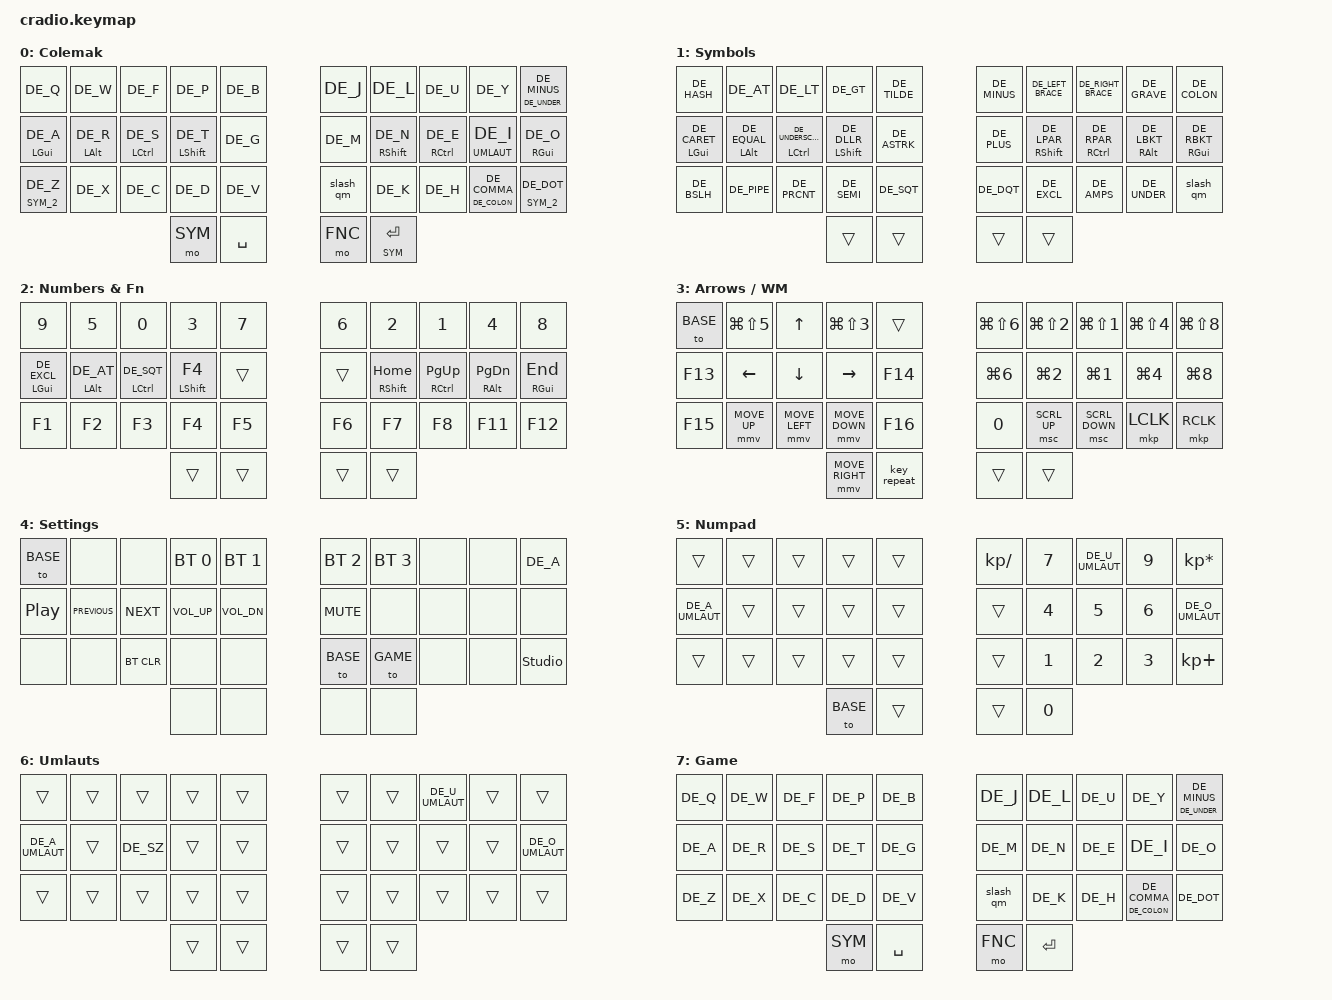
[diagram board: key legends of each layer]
/*
 * Copyright (c) 2020 The ZMK Contributors
 *
 * SPDX-License-Identifier: MIT
 */

#include <behaviors.dtsi>
#include <dt-bindings/zmk/bt.h>
#include <dt-bindings/zmk/keys.h>
#include <dt-bindings/zmk/pointing.h>

// Localized German keycodes (keys_de.h): every binding that emits a
// character uses a DE_* code, so hosts configured with a stock German
// layout produce the same characters in the same physical positions
// (Colemak letter positions kept; only the emitted HID usages differ —
// note the QWERTZ Y/Z usage swap: DE_Y / DE_Z). Requires ALL hosts to
// run a German keyboard layout. Header generated by
// https://github.com/joelspadin/zmk-locale-generator (v1.5.0, CLDR
// de-t-k0-windows).
#include "keys_de.h"

#define BASE   0
#define SYM    1
#define SYM_2  2
#define FNC    3
#define FNC_2  4
#define NUMPAD 5
#define UMLAUT 6
#define GAME   7

// ZMK has no parent->child property inheritance: combos need timeout-ms and
// require-prior-idle-ms set per combo, otherwise they silently fall back to
// 50 ms / -1 (disabled) regardless of what the combos node says.
//
// combo_c: common variant (active on BASE..FNC).

#define ZMK_COMBO_C(n, b, kp, i) \
    n { bindings = <b>; key-positions = <kp>; layers = <BASE SYM SYM_2 FNC>; timeout-ms = <50>; require-prior-idle-ms = <i>; };

// combo_a: "everywhere" variant (all layers, for Escape-style combos).
// GAME is listed so to_default (Q + top pinky) also exits game mode.
#define ZMK_COMBO_A(n, b, kp, i) \
    n { bindings = <b>; key-positions = <kp>; layers = <BASE SYM SYM_2 FNC FNC_2 NUMPAD GAME>; timeout-ms = <50>; require-prior-idle-ms = <i>; };

&mt {
    // &mt is only used for tap/tap pairs (COLON+COMMA, UNDER+MINUS) where
    // tap-preferred + a prior-idle guard would only delay the shifted side.
    // Tap/tap resolution never depends on prior idle, so no guard is needed.

    tapping-term-ms = <250>;
    flavor = "tap-preferred";
};

&lt { require-prior-idle-ms = <100>; };

&sl { release-after-ms = <3000>; };

/ {
    combos {
        compatible = "zmk,combos";

        // Destructive / high-risk combos get 150 ms idle, the rest 80 ms.
        // Idle guard: the combo key pair must be pressed after that much
        // typing silence, so fast rolls can't fire them accidentally.
        esc {
            bindings = <&kp ESCAPE>;
            key-positions = <0 1>;
            layers = <BASE SYM SYM_2 FNC FNC_2 NUMPAD>;
            timeout-ms = <50>;
            require-prior-idle-ms = <0>;
        };
        // Same chord on GAME: menus still need Escape, but an unguarded Q+W
        // would pop the pause menu mid-fight — destructive-combo idle guard.
        esc_game { bindings = <&kp ESCAPE>; key-positions = <0 1>; layers = <GAME>; timeout-ms = <50>; require-prior-idle-ms = <150>; };
        ZMK_COMBO_C(cut,            &kp LC(X),       21 22,  80)
        ZMK_COMBO_C(copy,           &kp LC(C),       22 23,  80)
        ZMK_COMBO_C(paste,          &kp LC(V),       23 24,  80)
        ZMK_COMBO_A(to_default,     &to BASE,        0 9,    80)

        alt_quotes {
            bindings = <&kp DE_DQT>;
            key-positions = <5 6>;
            layers = <BASE>;
            timeout-ms = <50>;
            require-prior-idle-ms = <80>;
        };

        numpad {
            bindings = <&to NUMPAD>;
            key-positions = <7 8 9>;
            layers = <BASE>;
            timeout-ms = <50>;
            require-prior-idle-ms = <80>;
        };

        ZMK_COMBO_C(backspace,      &kp BACKSPACE,   3 2,    150)
        ZMK_COMBO_C(delete,         &kp DELETE,      6 7,    150)

        settings {
            bindings = <&to FNC_2>;
            key-positions = <0 1 2>;
            layers = <BASE>;
            timeout-ms = <50>;
            require-prior-idle-ms = <80>;
        };

        improve_prompt {
            bindings = <&llm_prompt>;
            key-positions = <30 31>;
            layers = <BASE>;
            timeout-ms = <50>;
            require-prior-idle-ms = <150>;
        };

        // RET is not destructive; keep the idle guard minimal so fast typing
        // straight into the combo still fires it.

        ZMK_COMBO_C(alt_ret,        &kp RET,         14 13,  30)

        capsword {
            bindings = <&caps_word>;
            key-positions = <29 28>;
            layers = <BASE>;
            timeout-ms = <50>;
            require-prior-idle-ms = <80>;
        };

        ZMK_COMBO_C(alt_tab,        &kp TAB,         15 16,  80)
        ZMK_COMBO_C(alt_semicolon,  &kp DE_SEMI,     3 4,    80)
        ZMK_COMBO_A(studio_unlock,  &studio_unlock,  20 10 0, 80)

        sym_once {
            // Was &sk SYM: &sk is a sticky *key* and wraps &kp, so this
            // emitted HID keycode 1 instead of the SYM layer.

            bindings = <&sl SYM>;
            key-positions = <20 21>;
            layers = <BASE>;
            timeout-ms = <50>;
            require-prior-idle-ms = <80>;
        };

        ZMK_COMBO_C(undo,           &kp LC(DE_Z),    24 25,  80)
        ZMK_COMBO_C(redo,           &kp LS(LC(DE_Z)), 25 26, 80)

        // Word-deletion pair: F+W sits one column left of the backspace combo
        // (F+P), T+D is its left/right mirror on the home row.

        ZMK_COMBO_C(word_backspace, &kp LC(BACKSPACE), 1 2,  150)
        ZMK_COMBO_C(word_delete,    &kp LC(DELETE),  14 15,  150)
    };

    macros {
        llm_prompt: llm_prompt {
            compatible = "zmk,behavior-macro";
            #binding-cells = <0>;
            wait-ms = <30>;
            tap-ms = <30>;
            bindings = <&kp LS(RET) &kp I &kp M &kp P &kp R &kp O &kp V &kp E &kp SPACE &kp T &kp H &kp I &kp S &kp SPACE &kp T &kp E &kp X &kp T &kp SPACE &kp A &kp N &kp D &kp SPACE &kp M &kp A &kp K &kp E &kp SPACE &kp I &kp T &kp SPACE &kp C &kp O &kp N &kp C &kp I &kp S &kp E &kp LC(RET)>;
        };
    };

    behaviors {
        hml: home_row_mod_left {
            compatible = "zmk,behavior-hold-tap";
            #binding-cells = <2>;
            flavor = "balanced";
            require-prior-idle-ms = <125>;
            tapping-term-ms = <250>;
            quick-tap-ms = <175>;
            bindings = <&kp>, <&kp>;

            hold-trigger-key-positions = <5 6 7 8 9 15 16 17 18 19 25 26 27 28 29 32 33>;
            hold-trigger-on-release;
            display-name = "Home Row Mod Left";
        };

        hmr: home_row_mod_right {
            compatible = "zmk,behavior-hold-tap";
            #binding-cells = <2>;
            flavor = "balanced";
            require-prior-idle-ms = <125>;
            tapping-term-ms = <250>;
            quick-tap-ms = <175>;
            bindings = <&kp>, <&kp>;

            hold-trigger-key-positions = <0 1 2 3 4 10 11 12 13 14 20 21 22 23 24 30 31>;
            hold-trigger-on-release;
            display-name = "Home Row Mod Right";
        };

        // Slash like a real keyboard: tap gives /, holding Shift gives ?.
        // On German hosts / (shift+7) and ? (shift+ß) sit on different
        // physical usages, so a plain &kp DE_SLASH can never produce ? with
        // an already-held Shift — the morph must swap the usage instead.
        slash_qm: slash_question {
            compatible = "zmk,behavior-mod-morph";
            #binding-cells = <0>;
            bindings = <&kp DE_SLASH>, <&kp DE_QUESTION>;
            mods = <(MOD_LSFT|MOD_RSFT)>;
            display-name = "Slash / Question Morph";
        };

        // Hold on I activates the UMLAUT layer instead of sending real
        // RAlt: a/o/u/s (and same-hand ü/ö rolls on U/O) then produce
        // ä/ö/ü/ß from their direct German-layout keycodes. A stock German
        // host maps AltGr+letter to æ/↓/ø fraction garbage (or nothing on
        // Windows), never to umlauts — and a leaked RAlt gave @/µ. A
        // momentary layer sends no RAlt HID usage at all, so none of that
        // can leak; a misruled chord just types the base letter.
        hmr_uml: home_row_mod_right_umlaut {
            compatible = "zmk,behavior-hold-tap";
            #binding-cells = <2>;
            flavor = "balanced";
            require-prior-idle-ms = <125>;
            tapping-term-ms = <250>;
            quick-tap-ms = <175>;
            bindings = <&mo>, <&kp>;
            // Left-hand keys + U(7)/O(19) on the same hand so ü/ö chords
            // on the right hand resolve to the hold (layer) side.
            hold-trigger-key-positions = <0 1 2 3 4 10 11 12 13 14 20 21 22 23 24 30 31 7 19>;
            hold-trigger-on-release;
            display-name = "Home Row Mod Right Umlaut";
        };
    };

    keymap {
        compatible = "zmk,keymap";

        base_layer {
            display-name = "Colemak";
            bindings = <
&kp DE_Q            &kp DE_W           &kp DE_F        &kp DE_P             &kp DE_B        &kp DE_J      &kp DE_L              &kp DE_U        &kp DE_Y            &mt DE_UNDER DE_MINUS
&hml LGUI DE_A  &hml LALT DE_R  &hml LCTRL DE_S  &hml LSHFT DE_T  &kp DE_G        &kp DE_M      &hmr RSHFT DE_N  &hmr RCTRL DE_E  &hmr_uml UMLAUT DE_I  &hmr RGUI DE_O
&lt SYM_2 DE_Z          &kp DE_X           &kp DE_C        &kp DE_D             &kp DE_V        &slash_qm  &kp DE_K              &kp DE_H        &mt DE_COLON DE_COMMA  &lt SYM_2 DE_DOT
                                              &mo SYM    &kp SPACE    &mo FNC    &lt SYM RET
            >;
        };

        symbol {
            display-name = "Symbols";
            bindings = <
&kp DE_HASH            &kp DE_AT              &kp DE_LT         &kp DE_GT       &kp DE_TILDE           &kp DE_MINUS  &kp DE_LEFT_BRACE                    &kp DE_RIGHT_BRACE              &kp DE_GRAVE                   &kp DE_COLON
&hml LGUI DE_CARET  &hml LALT DE_EQUAL  &hml LCTRL DE_UNDERSCORE  &hml LSHFT DE_DLLR  &kp DE_ASTRK        &kp DE_PLUS   &hmr RSHFT DE_LPAR  &hmr RCTRL DE_RPAR  &hmr RALT DE_LBKT  &hmr RGUI DE_RBKT
&kp DE_BSLH       &kp DE_PIPE            &kp DE_PRCNT             &kp DE_SEMI               &kp DE_SQT    &kp DE_DQT    &kp DE_EXCL                          &kp DE_AMPS                     &kp DE_UNDER                   &slash_qm
                                                               &trans                 &trans              &trans     &trans
            >;
        };

        number-and-fn {
            display-name = "Numbers & Fn";
            bindings = <
&kp N9             &kp N5       &kp N0         &kp NUMBER_3       &kp N7    &kp N6  &kp NUMBER_2          &kp NUMBER_1       &kp NUMBER_4             &kp N8
&hml LGUI DE_EXCL  &hml LALT DE_AT  &hml LCTRL DE_SQT  &hml LSHFT F4  &trans    &trans  &hmr RSHFT HOME  &hmr RCTRL PAGE_UP  &hmr RALT PAGE_DOWN  &hmr RGUI END
&kp F1             &kp F2       &kp F3         &kp F4             &kp F5    &kp F6  &kp F7                &kp F8             &kp F11                  &kp F12
                                               &trans             &trans    &trans  &trans
            >;
        };

        arrows_wm {
            display-name = "Arrows / WM";
            bindings = <
&to BASE  &kp LG(LS(N5))  &kp UP_ARROW    &kp LG(LS(NUMBER_3))  &trans         &kp LG(LS(NUMBER_6))  &kp LG(LS(NUMBER_2))  &kp LG(LS(NUMBER_1))  &kp LG(LS(NUMBER_4))  &kp LG(LS(N8))
&kp F13   &kp LEFT        &kp DOWN        &kp RIGHT             &kp F14        &kp LG(NUMBER_6)      &kp LG(NUMBER_2)      &kp LG(NUMBER_1)      &kp LG(NUMBER_4)      &kp LG(N8)
&kp F15   &mmv MOVE_UP    &mmv MOVE_LEFT  &mmv MOVE_DOWN        &kp F16        &kp N0                &msc SCRL_UP          &msc SCRL_DOWN        &mkp LCLK             &mkp RCLK
                                          &mmv MOVE_RIGHT       &key_repeat    &trans                &trans
            >;
        };

        settings {
            display-name = "Settings";
            // Top right (position 9): types "a" — tap it to see which host
            // receives input, i.e. which BT profile is currently active.
            bindings = <
&to BASE  &none  &none       &bt BT_SEL 0  &bt BT_SEL 1    &bt BT_SEL 2  &bt BT_SEL 3  &none  &none  &kp DE_A
&kp C_PLAY_PAUSE  &kp C_PREVIOUS  &kp C_NEXT  &kp C_VOL_UP  &kp C_VOL_DN  &kp C_MUTE  &none  &none  &none  &none
&none  &none  &bt BT_CLR  &none         &none         &to BASE         &to GAME         &none  &none  &studio_unlock
                          &none         &none           &none         &none
            >;
        };

        numpad {
            display-name = "Numpad";
            // ä/ö/ü are direct German-layout keys on the A/O/U letter
            // positions; Shift/CapsLock gives uppercase. u/o displace N8 and
            // KP_MINUS (unused), a was transparent. ß intentionally absent
            // (Swiss keyboarding).
            bindings = <
&trans  &trans  &trans  &trans  &trans    &kp KP_DIVIDE  &kp N7  &kp DE_U_UMLAUT  &kp N9  &kp KP_MULTIPLY
&kp DE_A_UMLAUT  &trans  &trans  &trans  &trans    &trans         &kp N4  &kp N5  &kp N6  &kp DE_O_UMLAUT
&trans  &trans  &trans  &trans  &trans    &trans         &kp N1  &kp N2  &kp N3  &kp KP_PLUS
                        &to BASE    &trans    &trans         &kp N0
            >;
        };

        umlaut {
            display-name = "Umlauts";
            // Momentary while I is held (hmr_uml). a/o/u/s become the
            // direct German-layout keys ä/ö/ü/ß; Shift/CapsLock give
            // uppercase. Everything else stays &trans, so overlapping
            // rolls fall through to the base letter untouched.
            bindings = <
&trans              &trans  &trans      &trans  &trans    &trans  &trans  &kp DE_U_UMLAUT  &trans  &trans
&kp DE_A_UMLAUT  &trans  &kp DE_SZ  &trans  &trans   &trans  &trans  &trans      &trans     &kp DE_O_UMLAUT
&trans              &trans  &trans      &trans  &trans    &trans  &trans  &trans           &trans  &trans
                                    &trans  &trans    &trans  &trans
            >;
        };

        game {
            display-name = "Game";
            // Base layer with every hold behavior stripped: home row keys
            // are plain letters (no mods), Z/DOT/RET lose their &lt holds
            // so a long key hold can never flip layers mid-game. Thumb &mo
            // keys stay, keeping arrows/F-keys/mouse (FNC) and symbols
            // reachable. Enter via settings (&to GAME next to &to BASE);
            // exit with the to_default combo (Q + top pinky). No other
            // combo lists GAME, so chords can't misfire — only esc_game
            // (Q+W with a 150 ms idle guard) fires Escape.
            bindings = <
&kp DE_Q  &kp DE_W  &kp DE_F  &kp DE_P  &kp DE_B    &kp DE_J  &kp DE_L  &kp DE_U  &kp DE_Y  &mt DE_UNDER DE_MINUS
&kp DE_A  &kp DE_R  &kp DE_S  &kp DE_T  &kp DE_G    &kp DE_M  &kp DE_N  &kp DE_E  &kp DE_I  &kp DE_O
&kp DE_Z  &kp DE_X  &kp DE_C  &kp DE_D  &kp DE_V    &slash_qm  &kp DE_K  &kp DE_H  &mt DE_COLON DE_COMMA  &kp DE_DOT
                             &mo SYM  &kp SPACE  &mo FNC  &kp RET
            >;
        };
    };
};
